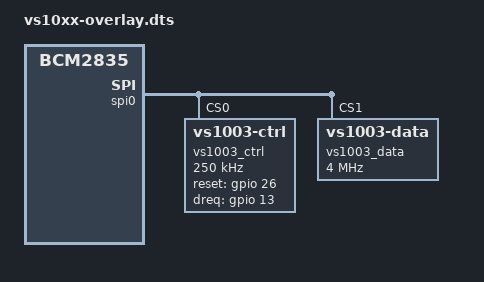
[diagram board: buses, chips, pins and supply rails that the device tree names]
/dts-v1/;
/plugin/;

/ {
    compatible = "brcm,bcm2711", "brcm,bcm2835";

    /* spidev0 (CS0) 厚劝己拳 */
    fragment@0 {
        target = <&spi0>;
        __overlay__ {
            spidev0: spidev@0{
                status = "disabled";
            };
        };
    };

    /* spidev1 (CS1) 厚劝己拳 */
    fragment@1 {
        target = <&spi0>;
        __overlay__ {
            spidev1: spidev@1{
                status = "disabled";
            };
        };
    };

    /* 快府 靛扼捞滚啊 荤侩且 vs1003-ctrl 殿废 */
    fragment@2 {
        target = <&spi0>;
        __overlay__ {
            #address-cells = <1>;
            #size-cells = <0>;

            vs1003_ctrl: vs1003-ctrl@0 {
                compatible = "vs1003-ctrl";
                reg = <0>; /* CS0 */
                spi-max-frequency = <250000>;
                device_id = <0>;
                reset-gpios = <&gpio 26 0>;
                dreq-gpios = <&gpio 13 0>;
            };
        };
    };

    /* 快府 靛扼捞滚啊 荤侩且 vs1003-data 殿废 */
    fragment@3 {
        target = <&spi0>;
        __overlay__ {
            #address-cells = <1>;
            #size-cells = <0>;

            vs1003_data: vs1003-data@1 {
                compatible = "vs1003-data";
                reg = <1>; /* CS1 */
                spi-max-frequency = <4000000>;
                device_id = <0>;
            };
        };
    };
};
